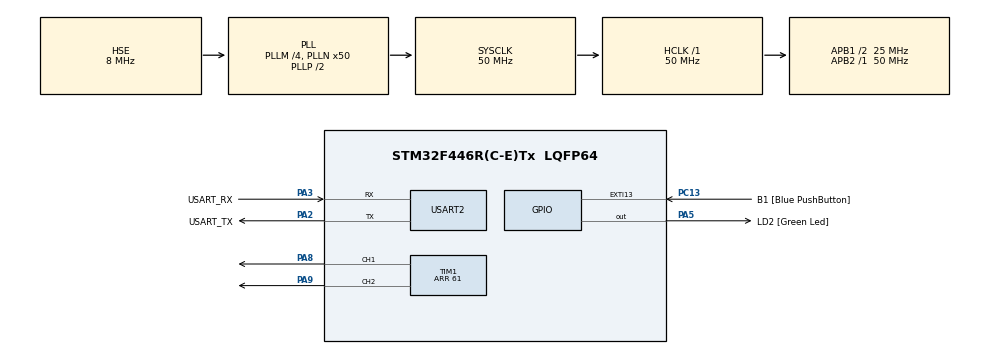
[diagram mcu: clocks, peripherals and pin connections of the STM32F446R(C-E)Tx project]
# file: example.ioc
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Dma.Request0=TIM1_CH1
Dma.Request1=TIM1_CH2
Dma.TIM1_CH1.0.Direction=DMA_MEMORY_TO_PERIPH
Dma.TIM1_CH1.0.FIFOMode=DMA_FIFOMODE_DISABLE
Dma.TIM1_CH1.0.Instance=DMA2_Stream1
Dma.TIM1_CH1.0.MemDataAlignment=DMA_MDATAALIGN_HALFWORD
Dma.TIM1_CH1.0.MemInc=DMA_MINC_ENABLE
Dma.TIM1_CH1.0.Mode=DMA_NORMAL
Dma.TIM1_CH1.0.PeriphDataAlignment=DMA_PDATAALIGN_HALFWORD
Dma.TIM1_CH1.0.PeriphInc=DMA_PINC_DISABLE
Dma.TIM1_CH1.0.Priority=DMA_PRIORITY_LOW
Dma.TIM1_CH2.1.Direction=DMA_MEMORY_TO_PERIPH
Dma.TIM1_CH2.1.FIFOMode=DMA_FIFOMODE_DISABLE
Dma.TIM1_CH2.1.Instance=DMA2_Stream2
Dma.TIM1_CH2.1.MemDataAlignment=DMA_MDATAALIGN_HALFWORD
Dma.TIM1_CH2.1.MemInc=DMA_MINC_ENABLE
Dma.TIM1_CH2.1.Mode=DMA_NORMAL
Dma.TIM1_CH2.1.PeriphDataAlignment=DMA_PDATAALIGN_HALFWORD
Dma.TIM1_CH2.1.PeriphInc=DMA_PINC_DISABLE
Dma.TIM1_CH2.1.Priority=DMA_PRIORITY_LOW
Mcu.Family=STM32F4
Mcu.Name=STM32F446R(C-E)Tx
Mcu.Package=LQFP64
NVIC.DMA2_Stream1_IRQn=true\:0\:0\:false\:false\:true\:false\:true\:true
NVIC.DMA2_Stream2_IRQn=true\:0\:0\:false\:false\:true\:false\:true\:true
NVIC.PriorityGroup=NVIC_PRIORITYGROUP_0
PA13.GPIO_Label=TMS
PA13.Mode=Serial_Wire
PA13.Signal=SYS_JTMS-SWDIO
PA14.GPIO_Label=TCK
PA14.Mode=Serial_Wire
PA14.Signal=SYS_JTCK-SWCLK
PA2.GPIO_Label=USART_TX
PA2.Mode=Asynchronous
PA2.Signal=USART2_TX
PA3.GPIO_Label=USART_RX
PA3.Mode=Asynchronous
PA3.Signal=USART2_RX
PA5.GPIO_Label=LD2 [Green Led]
PA5.Signal=GPIO_Output
PA8.GPIO_Speed=GPIO_SPEED_FREQ_LOW
PA8.Signal=S_TIM1_CH1
PA9.GPIO_Speed=GPIO_SPEED_FREQ_LOW
PA9.Signal=S_TIM1_CH2
PB3.GPIO_Label=SWO
PB3.Signal=SYS_JTDO-SWO
PC13.GPIO_Label=B1 [Blue PushButton]
PC13.GPIO_ModeDefaultEXTI=GPIO_MODE_IT_FALLING
PC13.Signal=GPXTI13
PC14-OSC32_IN.Mode=LSE-External-Oscillator
PC14-OSC32_IN.Signal=RCC_OSC32_IN
PC15-OSC32_OUT.Mode=LSE-External-Oscillator
PC15-OSC32_OUT.Signal=RCC_OSC32_OUT
PH0-OSC_IN.Mode=HSE-External-Oscillator
PH0-OSC_IN.Signal=RCC_OSC_IN
PH1-OSC_OUT.Mode=HSE-External-Oscillator
PH1-OSC_OUT.Signal=RCC_OSC_OUT
ProjectManager.HeapSize=0x200
ProjectManager.StackSize=0x400
ProjectManager.TargetToolchain=STM32CubeIDE
RCC.48MHZClocksFreq_Value=84000000
RCC.AHBFreq_Value=50000000
RCC.APB1CLKDivider=RCC_HCLK_DIV2
RCC.APB1Freq_Value=25000000
RCC.APB1TimFreq_Value=50000000
RCC.APB2Freq_Value=50000000
RCC.APB2TimFreq_Value=50000000
RCC.CortexFreq_Value=50000000
RCC.FLatency-AdvancedSettings=FLASH_LATENCY_1
RCC.HCLKFreq_Value=50000000
RCC.HSE_VALUE=8000000
RCC.HSI_VALUE=16000000
RCC.PLLM=4
RCC.PLLN=50
RCC.PLLSourceVirtual=RCC_PLLSOURCE_HSE
RCC.SYSCLKFreq_VALUE=50000000
RCC.SYSCLKSource=RCC_SYSCLKSOURCE_PLLCLK
RCC.USBFreq_Value=50000000
RCC.VCOOutputFreq_Value=100000000
SH.S_TIM1_CH1.0=TIM1_CH1,PWM Generation1 CH1
SH.S_TIM1_CH2.0=TIM1_CH2,PWM Generation2 CH2
TIM1.AutoReloadPreload=TIM_AUTORELOAD_PRELOAD_DISABLE
TIM1.Channel-PWM\ Generation1\ CH1=TIM_CHANNEL_1
TIM1.Channel-PWM\ Generation2\ CH2=TIM_CHANNEL_2
TIM1.Period=61
USART2.VirtualMode=VM_ASYNC
VP_TIM1_VS_ClockSourceINT.Mode=Internal
board=NUCLEO-F446RE

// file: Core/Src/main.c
/* USER CODE BEGIN Header */
/**
  ******************************************************************************
  * @file           : main.c
  * @brief          : Main program body
  ******************************************************************************
  * @attention
  *
  * Copyright (c) 2026 STMicroelectronics.
  * All rights reserved.
  *
  * This software is licensed under terms that can be found in the LICENSE file
  * in the root directory of this software component.
  * If no LICENSE file comes with this software, it is provided AS-IS.
  *
  ******************************************************************************
  */
/* USER CODE END Header */
#include "main.h"

/* USER CODE BEGIN Includes */
#include "../../../../../lib/ws2812_dma.h"
/* USER CODE END Includes */

TIM_HandleTypeDef htim1;
DMA_HandleTypeDef hdma_tim1_ch1;
DMA_HandleTypeDef hdma_tim1_ch2;

UART_HandleTypeDef huart2;

void SystemClock_Config(void);
static void MX_GPIO_Init(void);
static void MX_DMA_Init(void);
static void MX_TIM1_Init(void);
static void MX_USART2_UART_Init(void);

/* USER CODE BEGIN 0 */

#define STRAND1_LEDS 2
#define STRAND2_LEDS 12

uint16_t b1[24 * STRAND1_LEDS + WS2812_RESET_PULSE] = {0};
uint16_t b2[24 * STRAND2_LEDS + WS2812_RESET_PULSE] = {0};

WS2812_Strand s1 = {&htim1, TIM_CHANNEL_1, b1, STRAND1_LEDS, 24 * STRAND1_LEDS + WS2812_RESET_PULSE};
WS2812_Strand s2 = {&htim1, TIM_CHANNEL_2, b2, STRAND2_LEDS, 24 * STRAND2_LEDS + WS2812_RESET_PULSE};

WS2812_Strand* myChain[] = {&s1, &s2};
/* USER CODE END 0 */

int main(void)
{

  /* MCU Configuration--------------------------------------------------------*/

  /* Reset of all peripherals, Initializes the Flash interface and the Systick. */
  HAL_Init();

  /* Configure the system clock */
  SystemClock_Config();

  /* Initialize all configured peripherals */
  MX_GPIO_Init();
  MX_DMA_Init();
  MX_TIM1_Init();
  MX_USART2_UART_Init();
  /* USER CODE BEGIN 2 */
  __HAL_TIM_MOE_ENABLE(&htim1);

  /* USER CODE END 2 */

  /* Infinite loop */
  /* Infinite loop */
    /* USER CODE BEGIN WHILE */
    uint8_t blinkState = 0;
    uint8_t frameCounter = 0;

    while (1)
    {
      /* USER CODE END WHILE */

      /* USER CODE BEGIN 3 */

      // --- STRAND 1: Blinker Logic (2 LEDs) ---
      // Toggle between Orange and Off every loop iteration
      blinkState = !blinkState;
      if (blinkState) {
          WS2812_SetColor(&s1, 0, COLOR_RED, 100);
          WS2812_SetColor(&s1, 1, COLOR_OFF, 0);
      } else {
          WS2812_SetColor(&s1, 0, COLOR_OFF, 0);
          WS2812_SetColor(&s1, 1, COLOR_CYAN, 100);
      }

      // --- STRAND 2: Animation / Status Logic (12 LEDs) ---
      // Clear all LEDs in Strand 2 first
      for(int i = 0; i < STRAND2_LEDS; i++) {
          WS2812_SetColor(&s2, i, COLOR_OFF, 0);
      }

      // Draw a moving pixel using SetPixel (manual RGB: Green)
      // Uses frameCounter to move the position
      uint8_t currentPos = frameCounter % STRAND2_LEDS;
      WS2812_SetPixel(&s2, currentPos, 0, 255, 0, 150);

      // Add a static blue LED at the end using SetColor
      WS2812_SetColor(&s2, 11, COLOR_BLUE, 50);

      // --- START TRANSMISSION ---
      // This starts the DMA chain (Strand 1 -> Callback -> Strand 2)
      WS2812_StartChain(myChain, 2);

      // Cycle timing: 500ms for a visible blink/animation speed
      HAL_Delay(500);
      frameCounter++;

    }
    /* USER CODE END 3 */
}

void SystemClock_Config(void)
{
  RCC_OscInitTypeDef RCC_OscInitStruct = {0};
  RCC_ClkInitTypeDef RCC_ClkInitStruct = {0};

  /** Configure the main internal regulator output voltage
  */
  __HAL_RCC_PWR_CLK_ENABLE();
  __HAL_PWR_VOLTAGESCALING_CONFIG(PWR_REGULATOR_VOLTAGE_SCALE3);

  /** Initializes the RCC Oscillators according to the specified parameters
  * in the RCC_OscInitTypeDef structure.
  */
  RCC_OscInitStruct.OscillatorType = RCC_OSCILLATORTYPE_HSE;
  RCC_OscInitStruct.HSEState = RCC_HSE_ON;
  RCC_OscInitStruct.PLL.PLLState = RCC_PLL_ON;
  RCC_OscInitStruct.PLL.PLLSource = RCC_PLLSOURCE_HSE;
  RCC_OscInitStruct.PLL.PLLM = 4;
  RCC_OscInitStruct.PLL.PLLN = 50;
  RCC_OscInitStruct.PLL.PLLP = RCC_PLLP_DIV2;
  RCC_OscInitStruct.PLL.PLLQ = 2;
  RCC_OscInitStruct.PLL.PLLR = 2;
  if (HAL_RCC_OscConfig(&RCC_OscInitStruct) != HAL_OK)
  {
    Error_Handler();
  }

  /** Initializes the CPU, AHB and APB buses clocks
  */
  RCC_ClkInitStruct.ClockType = RCC_CLOCKTYPE_HCLK|RCC_CLOCKTYPE_SYSCLK
                              |RCC_CLOCKTYPE_PCLK1|RCC_CLOCKTYPE_PCLK2;
  RCC_ClkInitStruct.SYSCLKSource = RCC_SYSCLKSOURCE_PLLCLK;
  RCC_ClkInitStruct.AHBCLKDivider = RCC_SYSCLK_DIV1;
  RCC_ClkInitStruct.APB1CLKDivider = RCC_HCLK_DIV2;
  RCC_ClkInitStruct.APB2CLKDivider = RCC_HCLK_DIV1;

  if (HAL_RCC_ClockConfig(&RCC_ClkInitStruct, FLASH_LATENCY_1) != HAL_OK)
  {
    Error_Handler();
  }
}

static void MX_TIM1_Init(void)
{

  TIM_ClockConfigTypeDef sClockSourceConfig = {0};
  TIM_MasterConfigTypeDef sMasterConfig = {0};
  TIM_OC_InitTypeDef sConfigOC = {0};
  TIM_BreakDeadTimeConfigTypeDef sBreakDeadTimeConfig = {0};

  htim1.Instance = TIM1;
  htim1.Init.Prescaler = 0;
  htim1.Init.CounterMode = TIM_COUNTERMODE_UP;
  htim1.Init.Period = 61;
  htim1.Init.ClockDivision = TIM_CLOCKDIVISION_DIV1;
  htim1.Init.RepetitionCounter = 0;
  htim1.Init.AutoReloadPreload = TIM_AUTORELOAD_PRELOAD_DISABLE;
  if (HAL_TIM_Base_Init(&htim1) != HAL_OK)
  {
    Error_Handler();
  }
  sClockSourceConfig.ClockSource = TIM_CLOCKSOURCE_INTERNAL;
  if (HAL_TIM_ConfigClockSource(&htim1, &sClockSourceConfig) != HAL_OK)
  {
    Error_Handler();
  }
  if (HAL_TIM_PWM_Init(&htim1) != HAL_OK)
  {
    Error_Handler();
  }
  sMasterConfig.MasterOutputTrigger = TIM_TRGO_RESET;
  sMasterConfig.MasterSlaveMode = TIM_MASTERSLAVEMODE_DISABLE;
  if (HAL_TIMEx_MasterConfigSynchronization(&htim1, &sMasterConfig) != HAL_OK)
  {
    Error_Handler();
  }
  sConfigOC.OCMode = TIM_OCMODE_PWM1;
  sConfigOC.Pulse = 0;
  sConfigOC.OCPolarity = TIM_OCPOLARITY_HIGH;
  sConfigOC.OCNPolarity = TIM_OCNPOLARITY_HIGH;
  sConfigOC.OCFastMode = TIM_OCFAST_DISABLE;
  sConfigOC.OCIdleState = TIM_OCIDLESTATE_RESET;
  sConfigOC.OCNIdleState = TIM_OCNIDLESTATE_RESET;
  if (HAL_TIM_PWM_ConfigChannel(&htim1, &sConfigOC, TIM_CHANNEL_1) != HAL_OK)
  {
    Error_Handler();
  }
  if (HAL_TIM_PWM_ConfigChannel(&htim1, &sConfigOC, TIM_CHANNEL_2) != HAL_OK)
  {
    Error_Handler();
  }
  sBreakDeadTimeConfig.OffStateRunMode = TIM_OSSR_DISABLE;
  sBreakDeadTimeConfig.OffStateIDLEMode = TIM_OSSI_DISABLE;
  sBreakDeadTimeConfig.LockLevel = TIM_LOCKLEVEL_OFF;
  sBreakDeadTimeConfig.DeadTime = 0;
  sBreakDeadTimeConfig.BreakState = TIM_BREAK_DISABLE;
  sBreakDeadTimeConfig.BreakPolarity = TIM_BREAKPOLARITY_HIGH;
  sBreakDeadTimeConfig.AutomaticOutput = TIM_AUTOMATICOUTPUT_DISABLE;
  if (HAL_TIMEx_ConfigBreakDeadTime(&htim1, &sBreakDeadTimeConfig) != HAL_OK)
  {
    Error_Handler();
  }
  HAL_TIM_MspPostInit(&htim1);

}

static void MX_USART2_UART_Init(void)
{

  huart2.Instance = USART2;
  huart2.Init.BaudRate = 115200;
  huart2.Init.WordLength = UART_WORDLENGTH_8B;
  huart2.Init.StopBits = UART_STOPBITS_1;
  huart2.Init.Parity = UART_PARITY_NONE;
  huart2.Init.Mode = UART_MODE_TX_RX;
  huart2.Init.HwFlowCtl = UART_HWCONTROL_NONE;
  huart2.Init.OverSampling = UART_OVERSAMPLING_16;
  if (HAL_UART_Init(&huart2) != HAL_OK)
  {
    Error_Handler();
  }

}

static void MX_DMA_Init(void)
{

  /* DMA controller clock enable */
  __HAL_RCC_DMA2_CLK_ENABLE();

  /* DMA interrupt init */
  /* DMA2_Stream1_IRQn interrupt configuration */
  HAL_NVIC_SetPriority(DMA2_Stream1_IRQn, 0, 0);
  HAL_NVIC_EnableIRQ(DMA2_Stream1_IRQn);
  /* DMA2_Stream2_IRQn interrupt configuration */
  HAL_NVIC_SetPriority(DMA2_Stream2_IRQn, 0, 0);
  HAL_NVIC_EnableIRQ(DMA2_Stream2_IRQn);

}

static void MX_GPIO_Init(void)
{
  GPIO_InitTypeDef GPIO_InitStruct = {0};

  /* GPIO Ports Clock Enable */
  __HAL_RCC_GPIOC_CLK_ENABLE();
  __HAL_RCC_GPIOH_CLK_ENABLE();
  __HAL_RCC_GPIOA_CLK_ENABLE();
  __HAL_RCC_GPIOB_CLK_ENABLE();

  /*Configure GPIO pin Output Level */
  HAL_GPIO_WritePin(LD2_GPIO_Port, LD2_Pin, GPIO_PIN_RESET);

  /*Configure GPIO pin : B1_Pin */
  GPIO_InitStruct.Pin = B1_Pin;
  GPIO_InitStruct.Mode = GPIO_MODE_IT_FALLING;
  GPIO_InitStruct.Pull = GPIO_NOPULL;
  HAL_GPIO_Init(B1_GPIO_Port, &GPIO_InitStruct);

  /*Configure GPIO pin : LD2_Pin */
  GPIO_InitStruct.Pin = LD2_Pin;
  GPIO_InitStruct.Mode = GPIO_MODE_OUTPUT_PP;
  GPIO_InitStruct.Pull = GPIO_NOPULL;
  GPIO_InitStruct.Speed = GPIO_SPEED_FREQ_LOW;
  HAL_GPIO_Init(LD2_GPIO_Port, &GPIO_InitStruct);

}

/* USER CODE BEGIN 4 */
void HAL_TIM_PWM_PulseFinishedCallback(TIM_HandleTypeDef *htim)
{
  // Leitet das DMA-Fertig-Signal an den Library-Manager weiter
  WS2812_HandleCallback(htim);
}
/* USER CODE END 4 */

void Error_Handler(void)
{
  __disable_irq();
  while (1)
  {
  }
}
